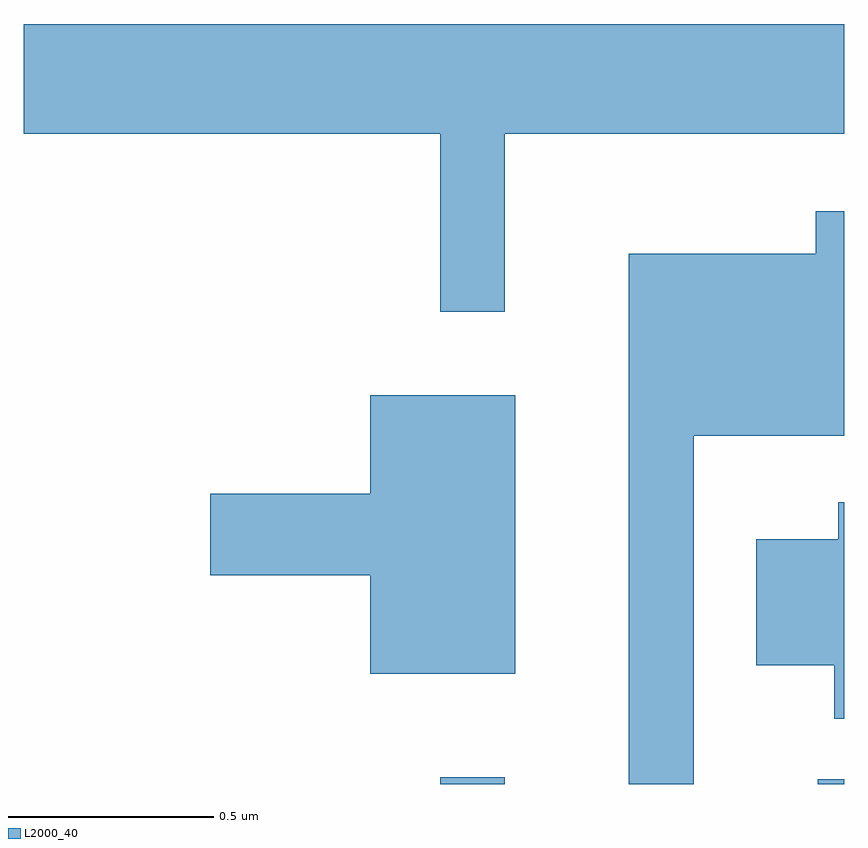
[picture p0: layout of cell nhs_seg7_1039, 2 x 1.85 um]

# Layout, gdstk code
import gdstk
lib = gdstk.Library(unit=1e-6, precision=1e-09)
def R(c, l, rs):  # rectangles x0, y0, x1, y1
    for r in rs: c.add(gdstk.rectangle(r[:2], r[2:], *l))
def P(c, l, *ps):  # polygons
    for p in ps: c.add(gdstk.Polygon(p, *l))
L2000_40 = (2000, 40)

nhs_seg7_1039 = lib.new_cell('nhs_seg7_1039')
R(nhs_seg7_1039, L2000_40, [(193.626,1748.252,193.784,1748.268), (194.546,1748.252,194.611,1748.263)])
P(nhs_seg7_1039, L2000_40, [(193.784,1749.836),(194.611,1749.836),(194.611,1750.104),(192.611,1750.104),(192.611,1749.836),(193.626,1749.836),(193.626,1749.403),(193.784,1749.403)],
  [(194.244,1749.101),(194.611,1749.101),(194.611,1749.648),(194.541,1749.648),(194.541,1749.544),(194.086,1749.544),(194.086,1748.252),(194.244,1748.252)],
  [(193.809,1749.199),(193.456,1749.199),(193.456,1748.959),(193.066,1748.959),(193.066,1748.761),(193.456,1748.761),(193.456,1748.521),(193.809,1748.521)],
  [(194.611,1748.939),(194.596,1748.939),(194.596,1748.849),(194.396,1748.849),(194.396,1748.541),(194.586,1748.541),(194.586,1748.411),(194.611,1748.411)])

lib.write_gds('nhs_seg7_1039.gds')
